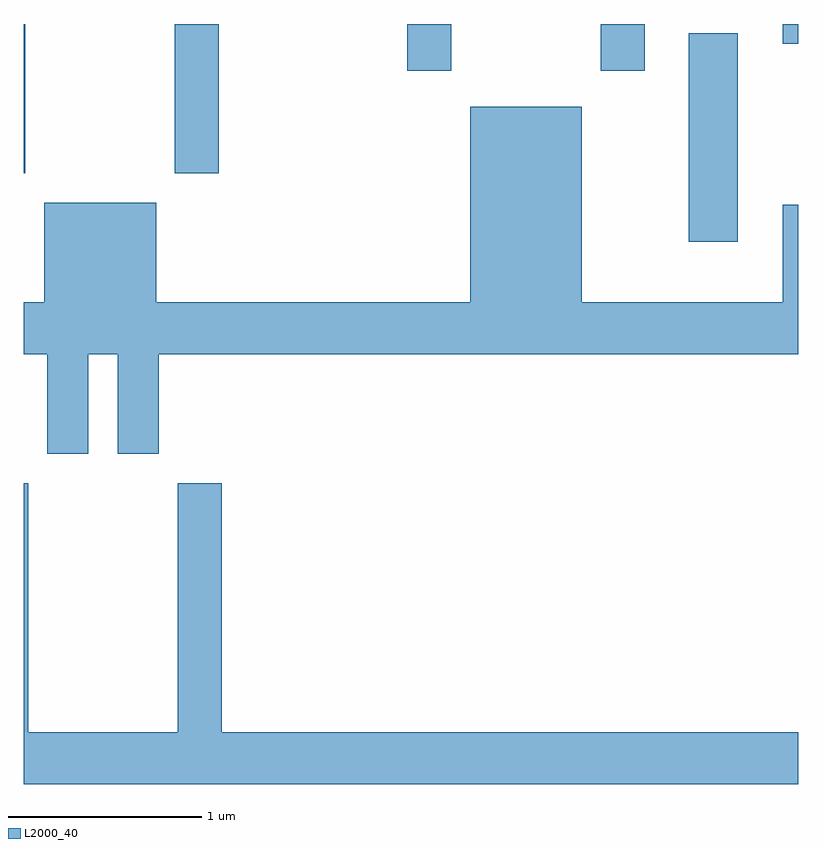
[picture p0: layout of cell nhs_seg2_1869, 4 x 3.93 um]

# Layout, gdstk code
import gdstk
lib = gdstk.Library(unit=1e-6, precision=1e-09)
def R(c, l, rs):  # rectangles x0, y0, x1, y1
    for r in rs: c.add(gdstk.rectangle(r[:2], r[2:], *l))
def P(c, l, *ps):  # polygons
    for p in ps: c.add(gdstk.Polygon(p, *l))
L2000_40 = (2000, 40)

nhs_seg2_1869 = lib.new_cell('nhs_seg2_1869')
R(nhs_seg2_1869, L2000_40, [(243.046,1046.676,243.299,1047.754), (239.611,1047.031,239.619,1047.802), (240.391,1047.031,240.619,1047.802), (241.591,1047.561,241.819,1047.802), (242.591,1047.561,242.819,1047.802), (243.531,1047.701,243.611,1047.802)])
P(nhs_seg2_1869, L2000_40, [(239.944,1046.096),(240.096,1046.096),(240.096,1045.581),(240.309,1045.581),(240.309,1046.096),(243.611,1046.096),(243.611,1046.869),(243.531,1046.869),(243.531,1046.364),(242.494,1046.364),(242.494,1047.374),(241.916,1047.374),(241.916,1046.364),(240.294,1046.364),(240.294,1046.879),(239.716,1046.879),(239.716,1046.364),(239.611,1046.364),(239.611,1046.096),(239.731,1046.096),(239.731,1045.581),(239.944,1045.581)],
  [(243.611,1044.144),(240.634,1044.144),(240.634,1045.429),(240.406,1045.429),(240.406,1044.144),(239.634,1044.144),(239.634,1045.429),(239.611,1045.429),(239.611,1043.876),(243.611,1043.876)])

lib.write_gds('nhs_seg2_1869.gds')
